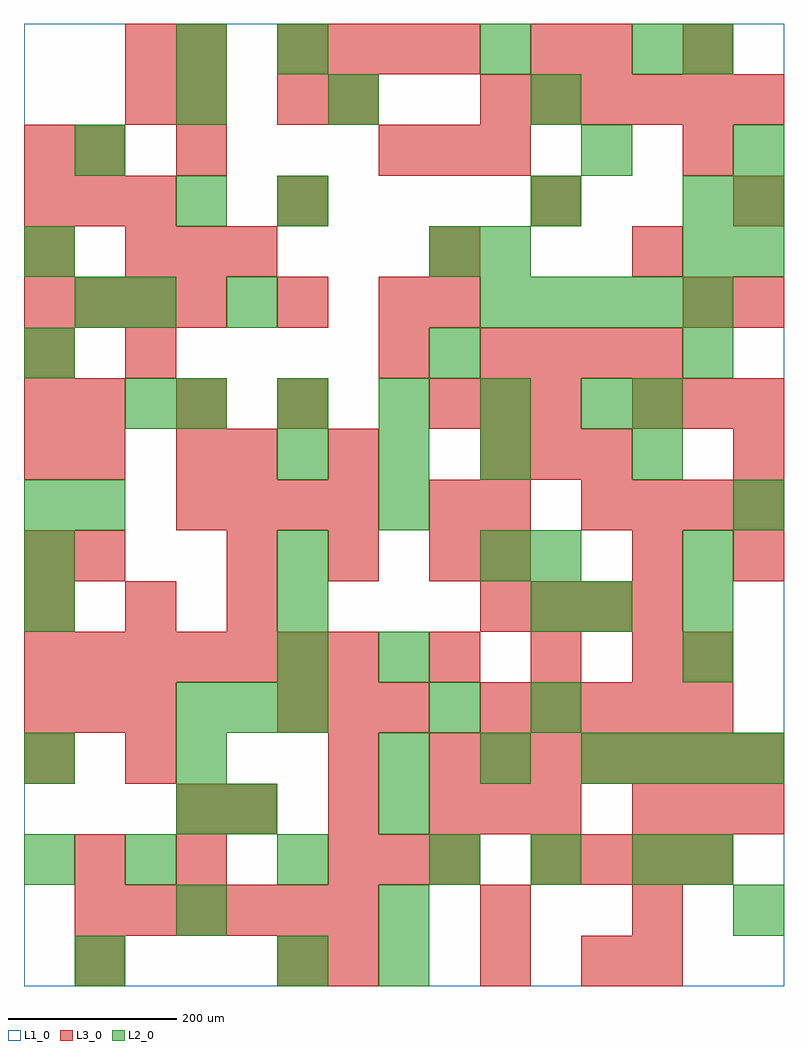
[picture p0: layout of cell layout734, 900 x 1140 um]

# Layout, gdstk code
import gdstk
lib = gdstk.Library(unit=1e-6, precision=1e-09)
def R(c, l, rs):  # rectangles x0, y0, x1, y1
    for r in rs: c.add(gdstk.rectangle(r[:2], r[2:], *l))
def A(c, l, x, y, w, h, nx, ny, dx, dy):  # array of equal rectangles
    R(c, l, [(x+i*dx, y+j*dy, x+i*dx+w, y+j*dy+h) for i in range(nx) for j in range(ny)])
L1_0 = (1, 0)
L2_0 = (2, 0)
L3_0 = (3, 0)

layout734 = lib.new_cell('layout734')
R(layout734, L1_0, [(0,0,900,1140)])
A(layout734, L2_0, 120, 120, 60, 60, 3, 1, 180, 0)
A(layout734, L2_0, 600, 120, 60, 60, 1, 3, 0, 180)
A(layout734, L2_0, 420, 180, 60, 60, 1, 3, 0, 180)
A(layout734, L2_0, 420, 240, 60, 60, 3, 1, 120, 0)
A(layout734, L2_0, 720, 240, 60, 60, 3, 1, 60, 0)
A(layout734, L2_0, 180, 300, 60, 60, 3, 1, 60, 0)
A(layout734, L2_0, 780, 360, 60, 60, 1, 3, 0, 60)
A(layout734, L2_0, 0, 420, 60, 60, 3, 1, 300, 0)
A(layout734, L2_0, 300, 600, 60, 60, 3, 1, 120, 0)
A(layout734, L2_0, 180, 660, 60, 60, 5, 1, 120, 0)
A(layout734, L2_0, 540, 780, 60, 60, 5, 1, 60, 0)
A(layout734, L2_0, 840, 840, 60, 60, 1, 3, 0, 60)
R(layout734, L2_0, [(60,0,120,60), (300,0,360,60), (420,0,480,60), (180,60,240,120), (420,60,480,120), (840,60,900,120), (0,120,60,180), (720,120,780,180), (780,120,840,180), (180,180,240,240), (240,180,300,240), (0,240,60,300), (180,240,240,300), (480,300,540,360), (300,360,360,420), (660,420,720,480), (0,480,60,540), (300,480,360,540), (540,480,600,540), (0,540,60,600), (60,540,120,600), (840,540,900,600), (720,600,780,660), (120,660,180,720), (720,660,780,720), (0,720,60,780), (480,720,540,780), (780,720,840,780), (60,780,120,840), (120,780,180,840), (240,780,300,840), (0,840,60,900), (480,840,540,900), (540,840,600,900), (780,840,840,900), (180,900,240,960), (300,900,360,960), (600,900,660,960), (780,900,840,960), (60,960,120,1020), (660,960,720,1020), (180,1020,240,1080), (360,1020,420,1080), (600,1020,660,1080), (180,1080,240,1140), (300,1080,360,1140), (540,1080,600,1140), (720,1080,780,1140), (780,1080,840,1140)])
A(layout734, L3_0, 60, 60, 60, 60, 6, 1, 60, 0)
A(layout734, L3_0, 360, 120, 60, 60, 3, 1, 60, 0)
A(layout734, L3_0, 600, 120, 60, 60, 4, 1, 60, 0)
A(layout734, L3_0, 240, 180, 60, 60, 3, 2, 120, 300)
A(layout734, L3_0, 720, 180, 60, 60, 3, 2, 60, 480)
A(layout734, L3_0, 480, 240, 60, 60, 7, 1, 60, 0)
A(layout734, L3_0, 0, 300, 60, 60, 3, 2, 60, 600)
A(layout734, L3_0, 300, 300, 60, 60, 3, 1, 60, 0)
A(layout734, L3_0, 540, 300, 60, 60, 5, 1, 60, 0)
A(layout734, L3_0, 0, 360, 60, 60, 7, 1, 60, 0)
A(layout734, L3_0, 480, 360, 60, 60, 3, 1, 120, 0)
A(layout734, L3_0, 0, 420, 60, 60, 3, 1, 120, 0)
A(layout734, L3_0, 540, 420, 60, 60, 4, 2, 60, 300)
A(layout734, L3_0, 180, 540, 60, 60, 4, 1, 60, 0)
A(layout734, L3_0, 660, 540, 60, 60, 4, 1, 60, 0)
A(layout734, L3_0, 0, 600, 60, 60, 1, 3, 0, 60)
A(layout734, L3_0, 540, 600, 60, 60, 3, 1, 60, 0)
A(layout734, L3_0, 60, 660, 60, 60, 3, 1, 120, 0)
A(layout734, L3_0, 480, 660, 60, 60, 3, 1, 60, 0)
A(layout734, L3_0, 0, 780, 60, 60, 4, 1, 60, 0)
A(layout734, L3_0, 300, 780, 60, 60, 1, 3, 0, 120)
A(layout734, L3_0, 120, 840, 60, 60, 3, 1, 60, 0)
A(layout734, L3_0, 180, 960, 60, 60, 1, 3, 0, 60)
A(layout734, L3_0, 420, 960, 60, 60, 3, 1, 60, 0)
A(layout734, L3_0, 540, 1020, 60, 60, 6, 1, 60, 0)
A(layout734, L3_0, 300, 1080, 60, 60, 4, 1, 60, 0)
R(layout734, L3_0, [(60,0,120,60), (300,0,360,60), (360,0,420,60), (540,0,600,60), (660,0,720,60), (720,0,780,60), (540,60,600,120), (720,60,780,120), (60,120,120,180), (180,120,240,180), (180,180,240,240), (540,180,600,240), (600,180,660,240), (0,240,60,300), (120,240,180,300), (360,240,420,300), (780,360,840,420), (0,480,60,540), (60,480,120,540), (540,480,600,540), (720,480,780,540), (840,480,900,540), (480,540,540,600), (540,540,600,600), (60,600,120,660), (180,600,240,660), (240,600,300,660), (360,600,420,660), (840,600,900,660), (120,720,180,780), (420,720,480,780), (420,780,480,840), (480,780,540,840), (780,780,840,840), (840,780,900,840), (0,840,60,900), (480,840,540,900), (720,840,780,900), (600,900,660,960), (840,900,900,960), (0,960,60,1020), (60,960,120,1020), (780,960,840,1020), (120,1020,180,1080), (360,1020,420,1080), (120,1080,180,1140), (600,1080,660,1140), (660,1080,720,1140), (780,1080,840,1140)])

lib.write_gds('layout734.gds')
